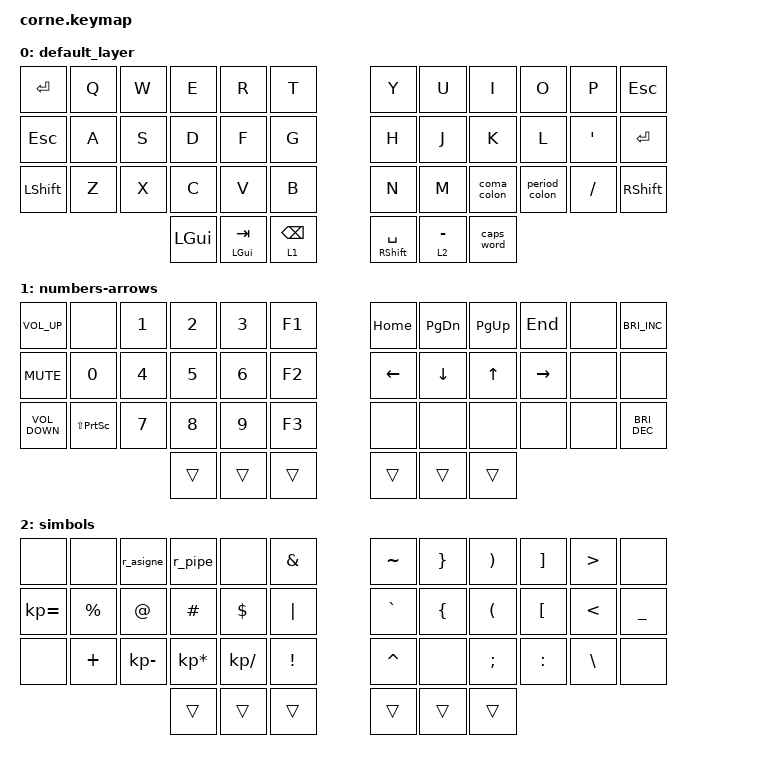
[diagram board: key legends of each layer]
/*
 * Copyright (c) 2020 The ZMK Contributors
 *
 * SPDX-License-Identifier: MIT
 */

#include <behaviors.dtsi>
#include <dt-bindings/zmk/keys.h>

/ {
    combos {
        compatible = "zmk,combos";

        cmd-left {
            bindings = <&kp LCMD>;
            key-positions = <16 15>;
        };

        cmd-right {
            bindings = <&kp RCMD>;
            key-positions = <19 20>;
        };

        ctr-left {
            bindings = <&kp LCTRL>;
            key-positions = <15 14>;
        };

        ctr-right {
            bindings = <&kp RCTRL>;
            key-positions = <20 21>;
        };

        ctr-cmd-left {
            bindings = <&kp LC(LCMD)>;
            key-positions = <16 15 14>;
        };

        ctl-cmd-right {
            bindings = <&kp RC(RCMD)>;
            key-positions = <19 20 21>;
        };
    };

    macros {
        r_asigne: r_asigne {
            compatible = "zmk,behavior-macro";
            #binding-cells = <0>;
            bindings = <&none &kp SPACE &kp LESS_THAN &kp MINUS &kp SPACE>;
            label = "R_ASIGNE";
        };

        r_pipe: r_pipe {
            compatible = "zmk,behavior-macro";
            #binding-cells = <0>;
            bindings = <&none &kp SPACE &kp PIPE &kp GREATER_THAN &kp SPACE>;
            label = "R_PIPE";
        };
    };

    behaviors {
        coma_colon: coma_colon {
            compatible = "zmk,behavior-mod-morph";
            label = "COMA_COLON";
            bindings = <&kp COMMA>, <&kp SEMICOLON>;

            #binding-cells = <0>;
            mods = <(MOD_LSFT|MOD_RSFT)>;
        };

        period_colon: period_colon {
            compatible = "zmk,behavior-mod-morph";
            label = "PERIOD_COLON";
            bindings = <&kp DOT>, <&kp COLON>;

            #binding-cells = <0>;
            mods = <(MOD_LSFT|MOD_RSFT)>;
        };
    };

    keymap {
        compatible = "zmk,keymap";

        default_layer {
            // -----------------------------------------------------------------------------------------
            // |  TAB |  Q  |  W  |  E  |  R  |  T  |   |  Y  |  U   |  I  |  O  |  P  | BKSP |
            // | CTRL |  A  |  S  |  D  |  F  |  G  |   |  H  |  J   |  K  |  L  |  ;  |  '   |
            // | SHFT |  Z  |  X  |  C  |  V  |  B  |   |  N  |  M   |  ,  |  .  |  /  | ESC  |
            //                    | GUI | LWR | SPC |   | ENT | RSE  | ALT |

            bindings = <
&kp ENTER   &kp Q  &kp W  &kp E     &kp R         &kp T              &kp Y             &kp U        &kp I        &kp O          &kp P     &kp ESCAPE
&kp ESCAPE  &kp A  &kp S  &kp D     &kp F         &kp G              &kp H             &kp J        &kp K        &kp L          &kp APOS  &kp ENTER
&kp LSHFT   &kp Z  &kp X  &kp C     &kp V         &kp B              &kp N             &kp M        &coma_colon  &period_colon  &kp FSLH  &kp RSHFT
                          &kp LGUI  &mt LGUI TAB  &lt 1 BACKSPACE    &mt RSHIFT SPACE  &lt 2 MINUS  &caps_word
            >;
        };

        numbers-arrows {
            // -----------------------------------------------------------------------------------------
            // |  TAB |  1  |  2  |  3  |  4  |  5  |   |  6  |  7  |  8  |  9  |  0  | BKSP |
            // | BTCLR| BT1 | BT2 | BT3 | BT4 | BT5 |   | LFT | DWN |  UP | RGT |     |      |
            // | SHFT |     |     |     |     |     |   |     |     |     |     |     |      |
            //                    | GUI |     | SPC |   | ENT |     | ALT |

            bindings = <
&kp C_VOLUME_UP    &none                &kp NUMBER_1  &kp NUMBER_2  &kp NUMBER_3  &kp F1    &kp HOME        &kp PAGE_DOWN   &kp PAGE_UP   &kp END    &none  &kp C_BRIGHTNESS_INC
&kp K_MUTE         &kp N0               &kp NUMBER_4  &kp NUMBER_5  &kp NUMBER_6  &kp F2    &kp LEFT_ARROW  &kp DOWN_ARROW  &kp UP_ARROW  &kp RIGHT  &none  &none
&kp C_VOLUME_DOWN  &kp LS(PRINTSCREEN)  &kp N7        &kp NUMBER_8  &kp N9        &kp F3    &none           &none           &none         &none      &none  &kp C_BRIGHTNESS_DEC
                                                      &trans        &trans        &trans    &trans          &trans          &trans
            >;
        };

        simbols {
            // -----------------------------------------------------------------------------------------
            // |  TAB |  !  |  @  |  #  |  $  |  %  |   |  ^  |  &  |  *  |  (  |  )  | BKSP |
            // | CTRL |     |     |     |     |     |   |  -  |  =  |  [  |  ]  |  \  |  `   |
            // | SHFT |     |     |     |     |     |   |  _  |  +  |  {  |  }  | "|" |  ~   |
            //                    | GUI |     | SPC |   | ENT |     | ALT |

            bindings = <
&none         &none        &r_asigne     &r_pipe          &none          &kp AMPERSAND    &kp TILDE  &kp RIGHT_BRACE  &kp RIGHT_PARENTHESIS  &kp RIGHT_BRACKET  &kp GREATER_THAN  &none
&kp KP_EQUAL  &kp PERCENT  &kp AT_SIGN   &kp HASH         &kp DOLLAR     &kp PIPE         &kp GRAVE  &kp LEFT_BRACE   &kp LEFT_PARENTHESIS   &kp LEFT_BRACKET   &kp LESS_THAN     &kp UNDER
&none         &kp PLUS     &kp KP_MINUS  &kp KP_ASTERISK  &kp KP_DIVIDE  &kp EXCL         &kp CARET  &none            &kp SEMICOLON          &kp COLON          &kp BACKSLASH     &none
                                         &trans           &trans         &trans           &trans     &trans           &trans
            >;
        };
    };
};
